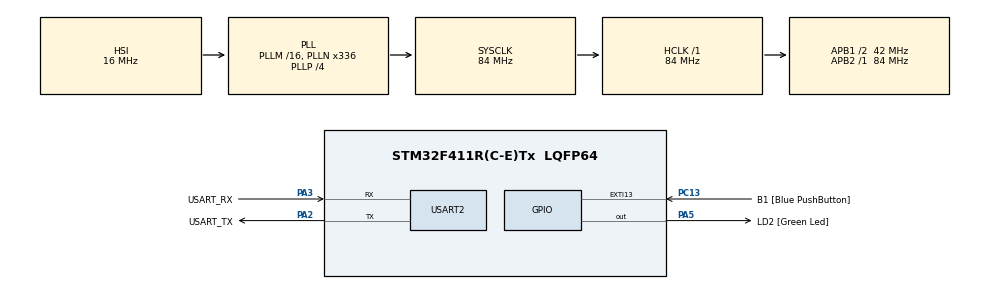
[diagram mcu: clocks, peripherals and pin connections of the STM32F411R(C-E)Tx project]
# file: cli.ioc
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FREERTOS.Tasks01=defaultTask,24,128,StartDefaultTask,Default,NULL,Dynamic,NULL,NULL
Mcu.Family=STM32F4
Mcu.Name=STM32F411R(C-E)Tx
Mcu.Package=LQFP64
NVIC.PriorityGroup=NVIC_PRIORITYGROUP_4
PA13.GPIO_Label=TMS
PA13.Mode=Serial_Wire
PA13.Signal=SYS_JTMS-SWDIO
PA14.GPIO_Label=TCK
PA14.Mode=Serial_Wire
PA14.Signal=SYS_JTCK-SWCLK
PA2.GPIO_Label=USART_TX
PA2.Mode=Asynchronous
PA2.Signal=USART2_TX
PA3.GPIO_Label=USART_RX
PA3.Mode=Asynchronous
PA3.Signal=USART2_RX
PA5.GPIO_Label=LD2 [Green Led]
PA5.Signal=GPIO_Output
PB3.GPIO_Label=SWO
PB3.Signal=SYS_JTDO-SWO
PC13-ANTI_TAMP.GPIO_Label=B1 [Blue PushButton]
PC13-ANTI_TAMP.GPIO_ModeDefaultEXTI=GPIO_MODE_IT_FALLING
PC13-ANTI_TAMP.Signal=GPXTI13
PC14-OSC32_IN.Mode=LSE-External-Oscillator
PC14-OSC32_IN.Signal=RCC_OSC32_IN
PC15-OSC32_OUT.Mode=LSE-External-Oscillator
PC15-OSC32_OUT.Signal=RCC_OSC32_OUT
PH0\ -\ OSC_IN.Mode=HSE-External-Clock-Source
PH0\ -\ OSC_IN.Signal=RCC_OSC_IN
PH1\ -\ OSC_OUT.Mode=HSE-External-Clock-Source
PH1\ -\ OSC_OUT.Signal=RCC_OSC_OUT
ProjectManager.HeapSize=0x200
ProjectManager.StackSize=0x400
ProjectManager.TargetToolchain=STM32CubeIDE
RCC.48MHZClocksFreq_Value=84000000
RCC.AHBFreq_Value=84000000
RCC.APB1CLKDivider=RCC_HCLK_DIV2
RCC.APB1Freq_Value=42000000
RCC.APB1TimFreq_Value=84000000
RCC.APB2Freq_Value=84000000
RCC.APB2TimFreq_Value=84000000
RCC.CortexFreq_Value=84000000
RCC.FLatency-AdvancedSettings=FLASH_LATENCY_2
RCC.HCLKFreq_Value=84000000
RCC.HSE_VALUE=8000000
RCC.HSI_VALUE=16000000
RCC.PLLN=336
RCC.PLLP=RCC_PLLP_DIV4
RCC.SYSCLKFreq_VALUE=84000000
RCC.SYSCLKSource=RCC_SYSCLKSOURCE_PLLCLK
RCC.VCOOutputFreq_Value=336000000
USART2.VirtualMode=VM_ASYNC
VP_FREERTOS_VS_CMSIS_V2.Mode=CMSIS_V2
board=NUCLEO-F411RE

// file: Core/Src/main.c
/* USER CODE BEGIN Header */
/**
  ******************************************************************************
  * @file           : main.c
  * @brief          : Main program body
  ******************************************************************************
  * @attention
  *
  * Copyright (c) 2026 STMicroelectronics.
  * All rights reserved.
  *
  * This software is licensed under terms that can be found in the LICENSE file
  * in the root directory of this software component.
  * If no LICENSE file comes with this software, it is provided AS-IS.
  *
  ******************************************************************************
  */
/* USER CODE END Header */
#include "main.h"
#include "cmsis_os.h"

/* USER CODE BEGIN Includes */
#include "app.h"
#include "cli.h"
#include <string.h>

/* USER CODE END Includes */

/* USER CODE BEGIN PD */
#define UART_COMMAND_BUFFER_SIZE (128U)

/* USER CODE END PD */

UART_HandleTypeDef huart2;

/* Definitions for defaultTask */
osThreadId_t defaultTaskHandle;
const osThreadAttr_t defaultTask_attributes = {
  .name = "defaultTask",
  .stack_size = 128 * 4,
  .priority = (osPriority_t) osPriorityNormal,
};
/* USER CODE BEGIN PV */
static char command_buffer[UART_COMMAND_BUFFER_SIZE];
static char write_buffer[CLI_WRITE_BUFFER_SIZE];

/* USER CODE END PV */

void SystemClock_Config(void);
static void MX_GPIO_Init(void);
static void MX_USART2_UART_Init(void);
void StartDefaultTask(void *argument);

/* USER CODE BEGIN 0 */
static void uart_write(const char *text) {
  if (text != NULL) {
    HAL_UART_Transmit(&huart2, (uint8_t *)text, (uint16_t)strlen(text),
                      HAL_MAX_DELAY);
  }
}

static void uart_read_line(char *buffer, size_t buffer_len) {
  uint8_t byte = 0U;
  size_t index = 0U;

  if (buffer == NULL || buffer_len == 0U) {
    return;
  }

  buffer[0] = '\0';
  while (1) {
    if (HAL_UART_Receive(&huart2, &byte, 1U, HAL_MAX_DELAY) != HAL_OK) {
      continue;
    }

    if (byte == '\r' || byte == '\n') {
      buffer[index] = '\0';
      uart_write("\r\n");
      return;
    }

    if (byte == '\b' || byte == 0x7FU) {
      if (index > 0U) {
        index--;
        buffer[index] = '\0';
        uart_write("\b \b");
      }
      continue;
    }

    if (byte >= ' ' && byte <= '~' && index < (buffer_len - 1U)) {
      buffer[index++] = (char)byte;
      HAL_UART_Transmit(&huart2, &byte, 1U, HAL_MAX_DELAY);
    }
  }
}

/* USER CODE END 0 */

int main(void)
{

  /* MCU Configuration--------------------------------------------------------*/

  /* Reset of all peripherals, Initializes the Flash interface and the Systick. */
  HAL_Init();

  /* Configure the system clock */
  SystemClock_Config();

  /* Initialize all configured peripherals */
  MX_GPIO_Init();
  MX_USART2_UART_Init();
  /* USER CODE BEGIN 2 */
  app_init();
  uart_write("\r\nEMCLI UART ready\r\n");

  /* USER CODE END 2 */

  /* Init scheduler */
  osKernelInitialize();

  /* Create the thread(s) */
  /* creation of defaultTask */
  defaultTaskHandle = osThreadNew(StartDefaultTask, NULL, &defaultTask_attributes);

  /* Start scheduler */
  osKernelStart();

  /* We should never get here as control is now taken by the scheduler */
  /* Infinite loop */
  while (1)
  {

  }
}

void SystemClock_Config(void)
{
  RCC_OscInitTypeDef RCC_OscInitStruct = {0};
  RCC_ClkInitTypeDef RCC_ClkInitStruct = {0};

  /** Configure the main internal regulator output voltage
  */
  __HAL_RCC_PWR_CLK_ENABLE();
  __HAL_PWR_VOLTAGESCALING_CONFIG(PWR_REGULATOR_VOLTAGE_SCALE1);

  /** Initializes the RCC Oscillators according to the specified parameters
  * in the RCC_OscInitTypeDef structure.
  */
  RCC_OscInitStruct.OscillatorType = RCC_OSCILLATORTYPE_HSI;
  RCC_OscInitStruct.HSIState = RCC_HSI_ON;
  RCC_OscInitStruct.HSICalibrationValue = RCC_HSICALIBRATION_DEFAULT;
  RCC_OscInitStruct.PLL.PLLState = RCC_PLL_ON;
  RCC_OscInitStruct.PLL.PLLSource = RCC_PLLSOURCE_HSI;
  RCC_OscInitStruct.PLL.PLLM = 16;
  RCC_OscInitStruct.PLL.PLLN = 336;
  RCC_OscInitStruct.PLL.PLLP = RCC_PLLP_DIV4;
  RCC_OscInitStruct.PLL.PLLQ = 4;
  if (HAL_RCC_OscConfig(&RCC_OscInitStruct) != HAL_OK)
  {
    Error_Handler();
  }

  /** Initializes the CPU, AHB and APB buses clocks
  */
  RCC_ClkInitStruct.ClockType = RCC_CLOCKTYPE_HCLK|RCC_CLOCKTYPE_SYSCLK
                              |RCC_CLOCKTYPE_PCLK1|RCC_CLOCKTYPE_PCLK2;
  RCC_ClkInitStruct.SYSCLKSource = RCC_SYSCLKSOURCE_PLLCLK;
  RCC_ClkInitStruct.AHBCLKDivider = RCC_SYSCLK_DIV1;
  RCC_ClkInitStruct.APB1CLKDivider = RCC_HCLK_DIV2;
  RCC_ClkInitStruct.APB2CLKDivider = RCC_HCLK_DIV1;

  if (HAL_RCC_ClockConfig(&RCC_ClkInitStruct, FLASH_LATENCY_2) != HAL_OK)
  {
    Error_Handler();
  }
}

static void MX_USART2_UART_Init(void)
{

  huart2.Instance = USART2;
  huart2.Init.BaudRate = 115200;
  huart2.Init.WordLength = UART_WORDLENGTH_8B;
  huart2.Init.StopBits = UART_STOPBITS_1;
  huart2.Init.Parity = UART_PARITY_NONE;
  huart2.Init.Mode = UART_MODE_TX_RX;
  huart2.Init.HwFlowCtl = UART_HWCONTROL_NONE;
  huart2.Init.OverSampling = UART_OVERSAMPLING_16;
  if (HAL_UART_Init(&huart2) != HAL_OK)
  {
    Error_Handler();
  }

}

static void MX_GPIO_Init(void)
{
  GPIO_InitTypeDef GPIO_InitStruct = {0};

  /* GPIO Ports Clock Enable */
  __HAL_RCC_GPIOC_CLK_ENABLE();
  __HAL_RCC_GPIOH_CLK_ENABLE();
  __HAL_RCC_GPIOA_CLK_ENABLE();
  __HAL_RCC_GPIOB_CLK_ENABLE();

  /*Configure GPIO pin Output Level */
  HAL_GPIO_WritePin(LD2_GPIO_Port, LD2_Pin, GPIO_PIN_RESET);

  /*Configure GPIO pin : B1_Pin */
  GPIO_InitStruct.Pin = B1_Pin;
  GPIO_InitStruct.Mode = GPIO_MODE_IT_FALLING;
  GPIO_InitStruct.Pull = GPIO_NOPULL;
  HAL_GPIO_Init(B1_GPIO_Port, &GPIO_InitStruct);

  /*Configure GPIO pin : LD2_Pin */
  GPIO_InitStruct.Pin = LD2_Pin;
  GPIO_InitStruct.Mode = GPIO_MODE_OUTPUT_PP;
  GPIO_InitStruct.Pull = GPIO_NOPULL;
  GPIO_InitStruct.Speed = GPIO_SPEED_FREQ_LOW;
  HAL_GPIO_Init(LD2_GPIO_Port, &GPIO_InitStruct);

}

void StartDefaultTask(void *argument)
{
  /* USER CODE BEGIN 5 */
  /* Infinite loop */
  for(;;)
  {
    uart_write("\r\nemcli> ");
    uart_read_line(command_buffer, sizeof(command_buffer));

    if (command_buffer[0] != '\0') {
      (void)cli_process_command(command_buffer, write_buffer,
                                sizeof(write_buffer));
      uart_write(write_buffer);
    }

    osDelay(1);
  }
  /* USER CODE END 5 */
}

void Error_Handler(void)
{
  __disable_irq();
  while (1)
  {
  }
}
